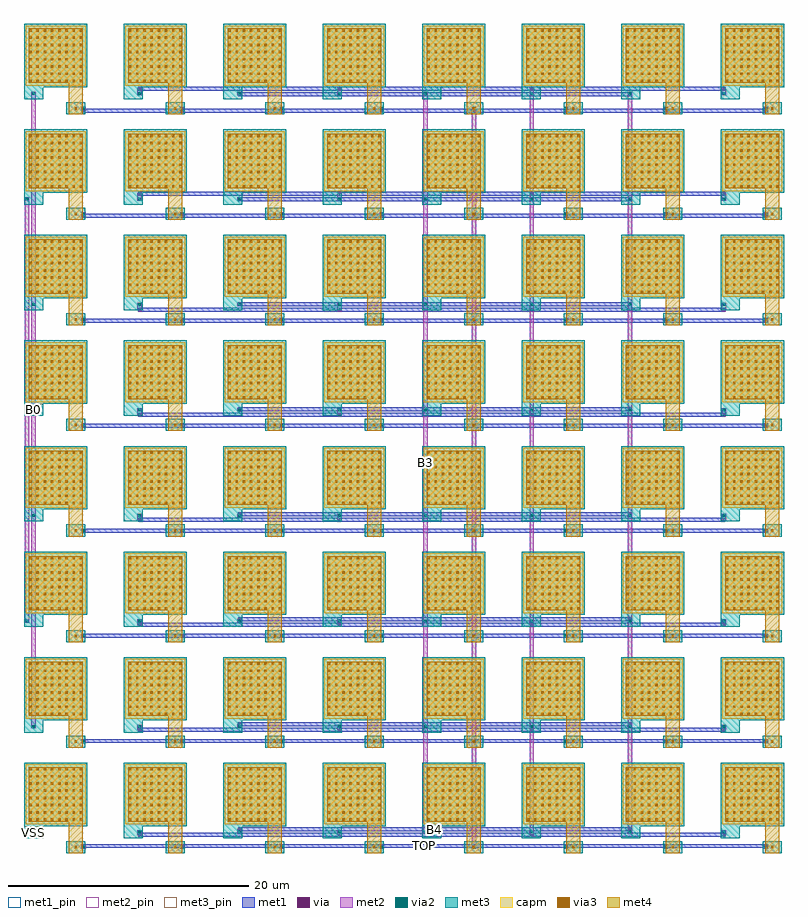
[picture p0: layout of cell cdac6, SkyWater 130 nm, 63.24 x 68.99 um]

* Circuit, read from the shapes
.subckt cdac6 B0 B1 B2 B3 B4 B5 TOP VSS
XC1 TOP VSS sky130_fd_pr__cap_mim_m3_1 w=5 l=5
XC2 TOP B2 sky130_fd_pr__cap_mim_m3_1 w=5 l=5 m=4
XC3 TOP B1 sky130_fd_pr__cap_mim_m3_1 w=5 l=5 m=2
XC4 TOP B0 sky130_fd_pr__cap_mim_m3_1 w=5 l=5
XC5 TOP B5 sky130_fd_pr__cap_mim_m3_1 w=5 l=5 m=32
XC6 TOP B4 sky130_fd_pr__cap_mim_m3_1 w=5 l=5 m=16
XC7 TOP B3 sky130_fd_pr__cap_mim_m3_1 w=5 l=5 m=8
.ends

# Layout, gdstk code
import gdstk
lib = gdstk.Library(unit=1e-6, precision=1e-09)
def R(c, l, rs):  # rectangles x0, y0, x1, y1
    for r in rs: c.add(gdstk.rectangle(r[:2], r[2:], *l))
def A(c, l, x, y, w, h, nx, ny, dx, dy):  # array of equal rectangles
    R(c, l, [(x+i*dx, y+j*dy, x+i*dx+w, y+j*dy+h) for i in range(nx) for j in range(ny)])
met1_pin = (68, 16)
met1 = (68, 20)
via = (68, 44)
met2_pin = (69, 16)
met2 = (69, 20)
via2 = (69, 44)
met3_pin = (70, 16)
met3 = (70, 20)
via3 = (70, 44)
met4 = (71, 20)
capm = (89, 44)

cdac6 = lib.new_cell('cdac6')
R(cdac6, met1_pin, [(4.94,1.68,61.75,2), (9.62,2.6,58.24,2.92), (17.94,3.06,50.44,3.38)])
A(cdac6, met1, 4.81, 1.68, 0.26, 0.32, 1, 8, 0, 8.74)
A(cdac6, met1, 4.94, 1.68, 56.81, 0.32, 1, 8, 0, 8.74)
A(cdac6, met1, 13, 1.68, 0.26, 0.32, 3, 8, 8.32, 8.74)
A(cdac6, met1, 44.98, 1.68, 0.26, 0.32, 3, 8, 8.32, 8.74)
A(cdac6, met1, 9.49, 2.6, 0.26, 0.32, 1, 6, 0, 8.74)
A(cdac6, met1, 9.62, 2.6, 48.62, 0.32, 1, 6, 0, 8.74)
A(cdac6, met1, 26.13, 2.6, 0.26, 0.32, 1, 6, 0, 8.74)
A(cdac6, met1, 58.11, 2.6, 0.26, 0.32, 1, 6, 0, 8.74)
A(cdac6, met1, 17.81, 3.06, 0.26, 0.32, 1, 8, 0, 8.74)
A(cdac6, met1, 17.94, 3.06, 32.5, 0.32, 1, 8, 0, 8.74)
R(cdac6, met1, [(37.31,1.68,37.57,2), (37.31,1.68,37.57,2), (42.12,2.6,42.38,2.92), (42.12,2.6,42.38,2.92), (50.31,3.06,50.57,3.38), (50.31,3.06,50.57,3.38), (37.31,10.42,37.57,10.74), (37.31,10.42,37.57,10.74), (42.12,11.34,42.38,11.66), (42.12,11.34,42.38,11.66), (50.31,11.8,50.57,12.12), (50.31,11.8,50.57,12.12), (37.31,19.16,37.57,19.48), (37.31,19.16,37.57,19.48), (42.12,20.08,42.38,20.4), (42.12,20.08,42.38,20.4), (50.31,20.54,50.57,20.86), (50.31,20.54,50.57,20.86), (37.31,27.9,37.57,28.22), (37.31,27.9,37.57,28.22), (42.12,28.82,42.38,29.14), (42.12,28.82,42.38,29.14), (50.31,29.28,50.57,29.6), (50.31,29.28,50.57,29.6), (37.31,36.64,37.57,36.96), (37.31,36.64,37.57,36.96), (42.12,37.56,42.38,37.88), (42.12,37.56,42.38,37.88), (50.31,38.02,50.57,38.34), (50.31,38.02,50.57,38.34), (37.31,45.38,37.57,45.7), (37.31,45.38,37.57,45.7), (42.12,46.3,42.38,46.62), (42.12,46.3,42.38,46.62), (50.31,46.76,50.57,47.08), (50.31,46.76,50.57,47.08), (37.31,54.12,37.57,54.44), (37.31,54.12,37.57,54.44), (50.31,55.5,50.57,55.82), (50.31,55.5,50.57,55.82), (9.49,55.96,9.75,56.28), (9.62,55.96,58.24,56.28), (26.13,55.96,26.39,56.28), (42.12,55.96,42.38,56.28), (42.12,55.96,42.38,56.28), (58.11,55.96,58.37,56.28), (37.31,62.86,37.57,63.18), (37.31,62.86,37.57,63.18), (50.31,64.24,50.57,64.56), (50.31,64.24,50.57,64.56), (9.49,64.7,9.75,65.02), (9.62,64.7,58.24,65.02), (26.13,64.7,26.39,65.02), (42.12,64.7,42.38,65.02), (42.12,64.7,42.38,65.02), (58.11,64.7,58.37,65.02)])
A(cdac6, via, 4.865, 1.765, 0.15, 0.15, 1, 8, 0, 8.74)
A(cdac6, via, 13.055, 1.765, 0.15, 0.15, 3, 8, 8.32, 8.74)
A(cdac6, via, 45.035, 1.765, 0.15, 0.15, 3, 8, 8.32, 8.74)
A(cdac6, via, 9.545, 2.685, 0.15, 0.15, 1, 6, 0, 8.74)
A(cdac6, via, 26.185, 2.685, 0.15, 0.15, 1, 6, 0, 8.74)
A(cdac6, via, 58.165, 2.685, 0.15, 0.15, 1, 6, 0, 8.74)
A(cdac6, via, 17.865, 3.145, 0.15, 0.15, 1, 8, 0, 8.74)
R(cdac6, via, [(37.365,1.765,37.515,1.915), (37.365,1.765,37.515,1.915), (42.175,2.685,42.325,2.835), (42.175,2.685,42.325,2.835), (50.365,3.145,50.515,3.295), (50.365,3.145,50.515,3.295), (37.365,10.505,37.515,10.655), (37.365,10.505,37.515,10.655), (42.175,11.425,42.325,11.575), (42.175,11.425,42.325,11.575), (50.365,11.885,50.515,12.035), (50.365,11.885,50.515,12.035), (37.365,19.245,37.515,19.395), (37.365,19.245,37.515,19.395), (42.175,20.165,42.325,20.315), (42.175,20.165,42.325,20.315), (50.365,20.625,50.515,20.775), (50.365,20.625,50.515,20.775), (37.365,27.985,37.515,28.135), (37.365,27.985,37.515,28.135), (42.175,28.905,42.325,29.055), (42.175,28.905,42.325,29.055), (50.365,29.365,50.515,29.515), (50.365,29.365,50.515,29.515), (37.365,36.725,37.515,36.875), (37.365,36.725,37.515,36.875), (42.175,37.645,42.325,37.795), (42.175,37.645,42.325,37.795), (50.365,38.105,50.515,38.255), (50.365,38.105,50.515,38.255), (37.365,45.465,37.515,45.615), (37.365,45.465,37.515,45.615), (42.175,46.385,42.325,46.535), (42.175,46.385,42.325,46.535), (50.365,46.845,50.515,46.995), (50.365,46.845,50.515,46.995), (37.365,54.205,37.515,54.355), (37.365,54.205,37.515,54.355), (50.365,55.585,50.515,55.735), (50.365,55.585,50.515,55.735), (9.545,56.045,9.695,56.195), (26.185,56.045,26.335,56.195), (42.175,56.045,42.325,56.195), (42.175,56.045,42.325,56.195), (58.165,56.045,58.315,56.195), (37.365,62.945,37.515,63.095), (37.365,62.945,37.515,63.095), (50.365,64.325,50.515,64.475), (50.365,64.325,50.515,64.475), (9.545,64.785,9.695,64.935), (26.185,64.785,26.335,64.935), (42.175,64.785,42.325,64.935), (42.175,64.785,42.325,64.935), (58.165,64.785,58.315,64.935)])
R(cdac6, met2_pin, [(33.225,3,33.595,64.46), (0.595,11.78,0.965,64.46), (0.075,20.56,0.445,55.68)])
A(cdac6, met2, 4.755, 1.61, 0.37, 0.28, 1, 8, 0, 8.78)
A(cdac6, met2, 12.945, 1.61, 0.37, 0.28, 3, 8, 8.32, 8.78)
A(cdac6, met2, 37.255, 1.61, 0.37, 0.28, 1, 8, 0, 8.78)
A(cdac6, met2, 44.925, 1.61, 0.37, 0.28, 3, 8, 8.32, 8.78)
A(cdac6, met2, 4.78, 1.71, 0.32, 0.26, 1, 8, 0, 8.74)
A(cdac6, met2, 12.97, 1.71, 0.32, 0.26, 3, 8, 8.32, 8.74)
A(cdac6, met2, 44.95, 1.71, 0.32, 0.26, 3, 8, 8.32, 8.74)
A(cdac6, met2, 12.945, 1.75, 0.37, 0.09, 3, 1, 8.32, 0)
A(cdac6, met2, 44.925, 1.75, 0.37, 0.09, 3, 1, 8.32, 0)
A(cdac6, met2, 9.46, 2.63, 0.32, 0.26, 1, 6, 0, 8.74)
A(cdac6, met2, 26.1, 2.63, 0.32, 0.26, 1, 6, 0, 8.74)
A(cdac6, met2, 58.08, 2.63, 0.32, 0.26, 1, 6, 0, 8.74)
A(cdac6, met2, 26.075, 2.76, 0.37, 0.24, 3, 1, 15.99, 0)
A(cdac6, met2, 9.435, 2.86, 0.37, 0.28, 3, 8, 8.32, 8.78)
A(cdac6, met2, 33.225, 2.86, 0.37, 0.28, 1, 8, 0, 8.78)
A(cdac6, met2, 42.065, 2.86, 0.37, 0.28, 1, 8, 0, 8.78)
A(cdac6, met2, 50.255, 2.86, 0.37, 0.28, 1, 8, 0, 8.78)
A(cdac6, met2, 58.055, 2.86, 0.37, 0.28, 1, 8, 0, 8.78)
A(cdac6, met2, 17.78, 3.09, 0.32, 0.26, 1, 8, 0, 8.74)
A(cdac6, met2, 12.945, 10.53, 0.37, 0.05, 3, 1, 8.32, 0)
A(cdac6, met2, 44.925, 10.53, 0.37, 0.05, 3, 1, 8.32, 0)
A(cdac6, met2, 26.075, 11.5, 0.37, 0.28, 3, 1, 15.99, 0)
A(cdac6, met2, 0.595, 11.64, 0.37, 0.28, 1, 4, 0, 17.56)
A(cdac6, met2, 12.945, 19.31, 0.37, 0.01, 3, 1, 8.32, 0)
A(cdac6, met2, 44.925, 19.31, 0.37, 0.01, 3, 1, 8.32, 0)
A(cdac6, met2, 26.075, 20.24, 0.37, 0.32, 3, 1, 15.99, 0)
A(cdac6, met2, 12.945, 28.06, 0.37, 0.03, 3, 1, 8.32, 0)
A(cdac6, met2, 44.925, 28.06, 0.37, 0.03, 3, 1, 8.32, 0)
A(cdac6, met2, 26.075, 28.98, 0.37, 0.36, 3, 1, 15.99, 0)
A(cdac6, met2, 12.945, 36.8, 0.37, 0.07, 3, 1, 8.32, 0)
A(cdac6, met2, 44.925, 36.8, 0.37, 0.07, 3, 1, 8.32, 0)
A(cdac6, met2, 26.075, 37.72, 0.37, 0.4, 3, 2, 15.99, 26.74)
A(cdac6, met2, 12.945, 45.54, 0.37, 0.11, 3, 1, 8.32, 0)
A(cdac6, met2, 44.925, 45.54, 0.37, 0.11, 3, 1, 8.32, 0)
A(cdac6, met2, 26.075, 46.46, 0.37, 0.44, 3, 2, 15.99, 9.22)
A(cdac6, met2, 12.945, 54.28, 0.37, 0.15, 3, 1, 8.32, 0)
A(cdac6, met2, 44.925, 54.28, 0.37, 0.15, 3, 1, 8.32, 0)
A(cdac6, met2, 12.945, 63.02, 0.37, 0.19, 3, 1, 8.32, 0)
A(cdac6, met2, 44.925, 63.02, 0.37, 0.19, 3, 1, 8.32, 0)
R(cdac6, met2, [(37.28,1.71,37.6,1.97), (37.28,1.71,37.6,1.97), (4.755,1.75,5.125,1.84), (37.255,1.75,37.625,1.84), (37.255,1.84,37.625,63.02), (42.09,2.63,42.41,2.89), (42.09,2.63,42.41,2.89), (9.435,2.76,9.805,3), (42.065,2.76,42.435,64.86), (17.755,3,18.125,3.22), (33.225,3,33.595,64.46), (50.255,3,50.625,3.22), (50.28,3.09,50.6,3.35), (50.28,3.09,50.6,3.35), (50.255,3.22,50.625,64.4), (37.28,10.45,37.6,10.71), (37.28,10.45,37.6,10.71), (4.755,10.53,5.125,10.58), (37.255,10.53,37.625,10.58), (42.09,11.37,42.41,11.63), (42.09,11.37,42.41,11.63), (9.435,11.5,9.805,11.78), (0.595,11.78,0.965,64.46), (17.755,11.78,18.125,11.96), (50.255,11.78,50.625,11.96), (50.28,11.83,50.6,12.09), (50.28,11.83,50.6,12.09), (37.28,19.19,37.6,19.45), (37.28,19.19,37.6,19.45), (4.755,19.31,5.125,19.32), (37.255,19.31,37.625,19.32), (42.09,20.11,42.41,20.37), (42.09,20.11,42.41,20.37), (9.435,20.24,9.805,20.56), (0.075,20.42,0.445,20.7), (0.075,20.56,0.445,55.68), (17.755,20.56,18.125,20.7), (50.255,20.56,50.625,20.7), (50.28,20.57,50.6,20.83), (50.28,20.57,50.6,20.83), (37.28,27.93,37.6,28.19), (37.28,27.93,37.6,28.19), (4.755,28.06,5.125,28.09), (37.255,28.06,37.625,28.09), (42.09,28.85,42.41,29.11), (42.09,28.85,42.41,29.11), (9.435,28.98,9.805,29.34), (50.28,29.31,50.6,29.57), (50.28,29.31,50.6,29.57), (17.755,29.34,18.125,29.44), (50.255,29.34,50.625,29.44), (37.28,36.67,37.6,36.93), (37.28,36.67,37.6,36.93), (4.755,36.8,5.125,36.87), (37.255,36.8,37.625,36.87), (42.09,37.59,42.41,37.85), (42.09,37.59,42.41,37.85), (9.435,37.72,9.805,38.12), (50.28,38.05,50.6,38.31), (50.28,38.05,50.6,38.31), (17.755,38.12,18.125,38.18), (50.255,38.12,50.625,38.18), (37.28,45.41,37.6,45.67), (37.28,45.41,37.6,45.67), (4.755,45.54,5.125,45.65), (37.255,45.54,37.625,45.65), (42.09,46.33,42.41,46.59), (42.09,46.33,42.41,46.59), (9.435,46.46,9.805,46.9), (50.28,46.79,50.6,47.05), (50.28,46.79,50.6,47.05), (17.755,46.9,18.125,46.92), (50.255,46.9,50.625,46.92), (37.28,54.15,37.6,54.41), (37.28,54.15,37.6,54.41), (4.755,54.28,5.125,54.43), (37.255,54.28,37.625,54.43), (50.28,55.53,50.6,55.79), (50.28,55.53,50.6,55.79), (0.075,55.54,0.445,55.82), (17.755,55.66,18.125,55.68), (50.255,55.66,50.625,55.68), (9.435,55.68,9.805,56.12), (9.46,55.99,9.78,56.25), (26.1,55.99,26.42,56.25), (42.09,55.99,42.41,56.25), (42.09,55.99,42.41,56.25), (58.08,55.99,58.4,56.25), (37.28,62.89,37.6,63.15), (37.28,62.89,37.6,63.15), (4.755,63.02,5.125,63.21), (37.255,63.02,37.625,63.21), (50.28,64.27,50.6,64.53), (50.28,64.27,50.6,64.53), (17.755,64.4,18.125,64.46), (50.255,64.4,50.625,64.46), (9.435,64.46,9.805,64.86), (9.46,64.73,9.78,64.99), (26.1,64.73,26.42,64.99), (42.09,64.73,42.41,64.99), (42.09,64.73,42.41,64.99), (58.08,64.73,58.4,64.99)])
A(cdac6, via2, 4.84, 1.65, 0.2, 0.2, 1, 8, 0, 8.78)
A(cdac6, via2, 13.03, 1.65, 0.2, 0.2, 3, 8, 8.32, 8.78)
A(cdac6, via2, 37.34, 1.65, 0.2, 0.2, 1, 8, 0, 8.78)
A(cdac6, via2, 45.01, 1.65, 0.2, 0.2, 3, 8, 8.32, 8.78)
A(cdac6, via2, 9.52, 2.9, 0.2, 0.2, 3, 8, 8.32, 8.78)
A(cdac6, via2, 33.31, 2.9, 0.2, 0.2, 1, 8, 0, 8.78)
A(cdac6, via2, 42.15, 2.9, 0.2, 0.2, 1, 8, 0, 8.78)
A(cdac6, via2, 50.34, 2.9, 0.2, 0.2, 1, 8, 0, 8.78)
A(cdac6, via2, 58.14, 2.9, 0.2, 0.2, 1, 8, 0, 8.78)
A(cdac6, via2, 0.68, 11.68, 0.2, 0.2, 1, 4, 0, 17.56)
R(cdac6, via2, [(0.16,20.46,0.36,20.66), (0.16,55.58,0.36,55.78)])
R(cdac6, met3_pin, [(0,2.5,1.6,3.5), (0,37.62,1.6,38.62)])
A(cdac6, met3, 3.505, 1.25, 1.6, 1, 8, 8, 8.28, 8.78)
A(cdac6, met3, 4.145, 1.375, 0.32, 0.75, 8, 8, 8.28, 8.78)
A(cdac6, met3, 4.775, 1.385, 0.33, 0.73, 1, 8, 0, 8.78)
A(cdac6, met3, 12.965, 1.385, 0.33, 0.73, 3, 8, 8.32, 8.78)
A(cdac6, met3, 37.275, 1.385, 0.33, 0.73, 1, 8, 0, 8.78)
A(cdac6, met3, 44.945, 1.385, 0.33, 0.73, 3, 8, 8.32, 8.78)
A(cdac6, met3, 0, 2.5, 1.6, 1, 8, 8, 8.28, 8.78)
A(cdac6, met3, 9.455, 2.635, 0.33, 0.73, 3, 8, 8.32, 8.78)
A(cdac6, met3, 33.245, 2.635, 0.33, 0.73, 1, 8, 0, 8.78)
A(cdac6, met3, 42.085, 2.635, 0.33, 0.73, 1, 8, 0, 8.78)
A(cdac6, met3, 50.275, 2.635, 0.33, 0.73, 1, 8, 0, 8.78)
A(cdac6, met3, 58.075, 2.635, 0.33, 0.73, 1, 8, 0, 8.78)
A(cdac6, met3, 0, 3.5, 5.28, 5.28, 8, 8, 8.28, 8.78)
A(cdac6, met3, 0.615, 11.415, 0.33, 0.73, 1, 4, 0, 17.56)
R(cdac6, met3, [(0,2.5,1.6,3.5), (0.095,20.195,0.425,20.925), (0,37.62,1.6,38.62), (0.095,55.315,0.425,56.045)])
A(cdac6, via3, 4.205, 1.65, 0.2, 0.2, 8, 8, 8.28, 8.78)
A(cdac6, via3, 0.44, 3.94, 0.2, 0.2, 8, 8, 0.6, 0.6)
A(cdac6, via3, 8.72, 3.94, 0.2, 0.2, 8, 8, 0.6, 0.6)
A(cdac6, via3, 17, 3.94, 0.2, 0.2, 8, 8, 0.6, 0.6)
A(cdac6, via3, 25.28, 3.94, 0.2, 0.2, 8, 8, 0.6, 0.6)
A(cdac6, via3, 33.56, 3.94, 0.2, 0.2, 8, 8, 0.6, 0.6)
A(cdac6, via3, 41.84, 3.94, 0.2, 0.2, 8, 8, 0.6, 0.6)
A(cdac6, via3, 50.12, 3.94, 0.2, 0.2, 8, 8, 0.6, 0.6)
A(cdac6, via3, 58.4, 3.94, 0.2, 0.2, 8, 8, 0.6, 0.6)
A(cdac6, via3, 0.44, 12.72, 0.2, 0.2, 8, 8, 0.6, 0.6)
A(cdac6, via3, 8.72, 12.72, 0.2, 0.2, 8, 8, 0.6, 0.6)
A(cdac6, via3, 17, 12.72, 0.2, 0.2, 8, 8, 0.6, 0.6)
A(cdac6, via3, 25.28, 12.72, 0.2, 0.2, 8, 8, 0.6, 0.6)
A(cdac6, via3, 33.56, 12.72, 0.2, 0.2, 8, 8, 0.6, 0.6)
A(cdac6, via3, 41.84, 12.72, 0.2, 0.2, 8, 8, 0.6, 0.6)
A(cdac6, via3, 50.12, 12.72, 0.2, 0.2, 8, 8, 0.6, 0.6)
A(cdac6, via3, 58.4, 12.72, 0.2, 0.2, 8, 8, 0.6, 0.6)
A(cdac6, via3, 0.44, 21.5, 0.2, 0.2, 8, 8, 0.6, 0.6)
A(cdac6, via3, 8.72, 21.5, 0.2, 0.2, 8, 8, 0.6, 0.6)
A(cdac6, via3, 17, 21.5, 0.2, 0.2, 8, 8, 0.6, 0.6)
A(cdac6, via3, 25.28, 21.5, 0.2, 0.2, 8, 8, 0.6, 0.6)
A(cdac6, via3, 33.56, 21.5, 0.2, 0.2, 8, 8, 0.6, 0.6)
A(cdac6, via3, 41.84, 21.5, 0.2, 0.2, 8, 8, 0.6, 0.6)
A(cdac6, via3, 50.12, 21.5, 0.2, 0.2, 8, 8, 0.6, 0.6)
A(cdac6, via3, 58.4, 21.5, 0.2, 0.2, 8, 8, 0.6, 0.6)
A(cdac6, via3, 0.44, 30.28, 0.2, 0.2, 8, 8, 0.6, 0.6)
A(cdac6, via3, 8.72, 30.28, 0.2, 0.2, 8, 8, 0.6, 0.6)
A(cdac6, via3, 17, 30.28, 0.2, 0.2, 8, 8, 0.6, 0.6)
A(cdac6, via3, 25.28, 30.28, 0.2, 0.2, 8, 8, 0.6, 0.6)
A(cdac6, via3, 33.56, 30.28, 0.2, 0.2, 8, 8, 0.6, 0.6)
A(cdac6, via3, 41.84, 30.28, 0.2, 0.2, 8, 8, 0.6, 0.6)
A(cdac6, via3, 50.12, 30.28, 0.2, 0.2, 8, 8, 0.6, 0.6)
A(cdac6, via3, 58.4, 30.28, 0.2, 0.2, 8, 8, 0.6, 0.6)
A(cdac6, via3, 0.44, 39.06, 0.2, 0.2, 8, 8, 0.6, 0.6)
A(cdac6, via3, 8.72, 39.06, 0.2, 0.2, 8, 8, 0.6, 0.6)
A(cdac6, via3, 17, 39.06, 0.2, 0.2, 8, 8, 0.6, 0.6)
A(cdac6, via3, 25.28, 39.06, 0.2, 0.2, 8, 8, 0.6, 0.6)
A(cdac6, via3, 33.56, 39.06, 0.2, 0.2, 8, 8, 0.6, 0.6)
A(cdac6, via3, 41.84, 39.06, 0.2, 0.2, 8, 8, 0.6, 0.6)
A(cdac6, via3, 50.12, 39.06, 0.2, 0.2, 8, 8, 0.6, 0.6)
A(cdac6, via3, 58.4, 39.06, 0.2, 0.2, 8, 8, 0.6, 0.6)
A(cdac6, via3, 0.44, 47.84, 0.2, 0.2, 8, 8, 0.6, 0.6)
A(cdac6, via3, 8.72, 47.84, 0.2, 0.2, 8, 8, 0.6, 0.6)
A(cdac6, via3, 17, 47.84, 0.2, 0.2, 8, 8, 0.6, 0.6)
A(cdac6, via3, 25.28, 47.84, 0.2, 0.2, 8, 8, 0.6, 0.6)
A(cdac6, via3, 33.56, 47.84, 0.2, 0.2, 8, 8, 0.6, 0.6)
A(cdac6, via3, 41.84, 47.84, 0.2, 0.2, 8, 8, 0.6, 0.6)
A(cdac6, via3, 50.12, 47.84, 0.2, 0.2, 8, 8, 0.6, 0.6)
A(cdac6, via3, 58.4, 47.84, 0.2, 0.2, 8, 8, 0.6, 0.6)
A(cdac6, via3, 0.44, 56.62, 0.2, 0.2, 8, 8, 0.6, 0.6)
A(cdac6, via3, 8.72, 56.62, 0.2, 0.2, 8, 8, 0.6, 0.6)
A(cdac6, via3, 17, 56.62, 0.2, 0.2, 8, 8, 0.6, 0.6)
A(cdac6, via3, 25.28, 56.62, 0.2, 0.2, 8, 8, 0.6, 0.6)
A(cdac6, via3, 33.56, 56.62, 0.2, 0.2, 8, 8, 0.6, 0.6)
A(cdac6, via3, 41.84, 56.62, 0.2, 0.2, 8, 8, 0.6, 0.6)
A(cdac6, via3, 50.12, 56.62, 0.2, 0.2, 8, 8, 0.6, 0.6)
A(cdac6, via3, 58.4, 56.62, 0.2, 0.2, 8, 8, 0.6, 0.6)
A(cdac6, via3, 0.44, 65.4, 0.2, 0.2, 8, 8, 0.6, 0.6)
A(cdac6, via3, 8.72, 65.4, 0.2, 0.2, 8, 8, 0.6, 0.6)
A(cdac6, via3, 17, 65.4, 0.2, 0.2, 8, 8, 0.6, 0.6)
A(cdac6, via3, 25.28, 65.4, 0.2, 0.2, 8, 8, 0.6, 0.6)
A(cdac6, via3, 33.56, 65.4, 0.2, 0.2, 8, 8, 0.6, 0.6)
A(cdac6, via3, 41.84, 65.4, 0.2, 0.2, 8, 8, 0.6, 0.6)
A(cdac6, via3, 50.12, 65.4, 0.2, 0.2, 8, 8, 0.6, 0.6)
A(cdac6, via3, 58.4, 65.4, 0.2, 0.2, 8, 8, 0.6, 0.6)
A(cdac6, met4, 3.705, 1.25, 1.2, 3.125, 8, 8, 8.28, 8.78)
A(cdac6, met4, 4.14, 1.385, 0.33, 0.73, 8, 8, 8.28, 8.78)
A(cdac6, met4, 0.375, 3.875, 4.53, 4.53, 8, 8, 8.28, 8.78)
A(cdac6, capm, 0.14, 3.64, 5, 5, 8, 8, 8.28, 8.78)
cdac6.add(gdstk.Label('TOP', (33.345,1.84), layer=68, texttype=16))
cdac6.add(gdstk.Label('B4', (34.19,3.22), layer=68, texttype=16))
cdac6.add(gdstk.Label('B5', (33.93,2.76), layer=68, texttype=16))
cdac6.add(gdstk.Label('TOP', (33.345,1.84), layer=68, texttype=5))
cdac6.add(gdstk.Label('B4', (34.19,3.22), layer=68, texttype=5))
cdac6.add(gdstk.Label('B5', (33.93,2.76), layer=68, texttype=5))
cdac6.add(gdstk.Label('B0', (0.8,38.12), layer=70, texttype=16))
cdac6.add(gdstk.Label('VSS', (0.8,3), layer=70, texttype=16))
cdac6.add(gdstk.Label('B0', (0.8,38.12), layer=70, texttype=5))
cdac6.add(gdstk.Label('VSS', (0.8,3), layer=70, texttype=5))
cdac6.add(gdstk.Label('B1', (0.26,38.12), layer=69, texttype=16))
cdac6.add(gdstk.Label('B2', (0.78,38.12), layer=69, texttype=16))
cdac6.add(gdstk.Label('B3', (33.41,33.73), layer=69, texttype=16))
cdac6.add(gdstk.Label('B1', (0.26,38.12), layer=69, texttype=5))
cdac6.add(gdstk.Label('B2', (0.78,38.12), layer=69, texttype=5))
cdac6.add(gdstk.Label('B3', (33.41,33.73), layer=69, texttype=5))

lib.write_gds('cdac6.gds')
